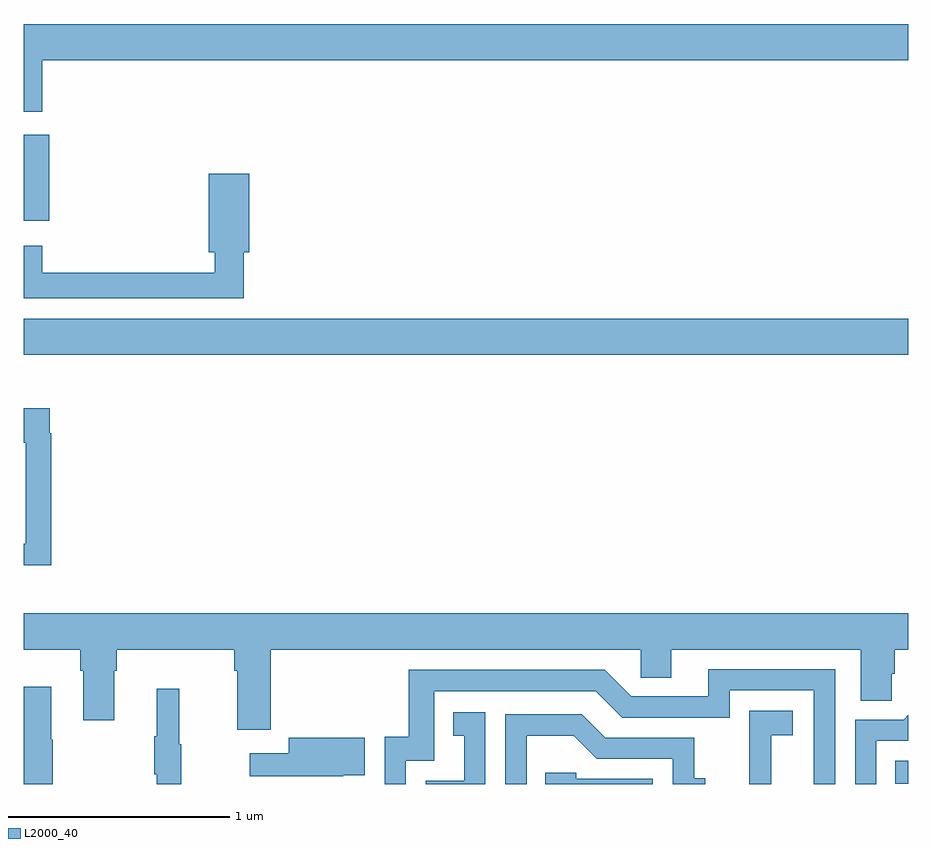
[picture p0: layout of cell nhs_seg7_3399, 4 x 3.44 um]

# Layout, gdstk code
import gdstk
lib = gdstk.Library(unit=1e-6, precision=1e-09)
def R(c, l, rs):  # rectangles x0, y0, x1, y1
    for r in rs: c.add(gdstk.rectangle(r[:2], r[2:], *l))
def P(c, l, *ps):  # polygons
    for p in ps: c.add(gdstk.Polygon(p, *l))
L2000_40 = (2000, 40)

nhs_seg7_3399 = lib.new_cell('nhs_seg7_3399')
R(nhs_seg7_3399, L2000_40, [(330.94,1008.002,331,1008.106), (327,1009.94,331,1010.104), (327,1010.547,327.116,1010.935)])
P(nhs_seg7_3399, L2000_40, [(327.085,1011.272),(331,1011.272),(331,1011.436),(327,1011.436),(327,1011.039),(327.085,1011.039)],
  [(327.995,1010.405),(328.019,1010.405),(328.019,1010.758),(327.836,1010.758),(327.836,1010.405),(327.863,1010.405),(327.863,1010.312),(327.085,1010.312),(327.085,1010.434),(327,1010.434),(327,1010.196),(327.995,1010.196)],
  [(327.125,1009.586),(327.118,1009.586),(327.118,1009.699),(327,1009.699),(327,1009.543),(327.009,1009.543),(327.009,1009.086),(327,1009.086),(327,1008.989),(327.125,1008.989)],
  [(328.118,1008.608),(329.79,1008.608),(329.79,1008.481),(329.929,1008.481),(329.929,1008.608),(330.785,1008.608),(330.785,1008.376),(330.924,1008.376),(330.924,1008.499),(330.938,1008.499),(330.938,1008.608),(331,1008.608),(331,1008.772),(327,1008.772),(327,1008.608),(327.257,1008.608),(327.257,1008.512),(327.269,1008.512),(327.269,1008.288),(327.409,1008.288),(327.409,1008.512),(327.422,1008.512),(327.422,1008.608),(327.953,1008.608),(327.953,1008.512),(327.965,1008.512),(327.965,1008.246),(328.118,1008.246)],
  [(328.728,1008.105),(328.857,1008.105),(328.857,1008.42),(329.586,1008.42),(329.706,1008.3),(330.192,1008.3),(330.192,1008.423),(330.573,1008.423),(330.573,1008),(330.669,1008),(330.669,1008.519),(330.095,1008.519),(330.095,1008.396),(329.748,1008.396),(329.628,1008.516),(328.741,1008.516),(328.741,1008.214),(328.632,1008.214),(328.632,1008),(328.728,1008)],
  [(327.132,1008.2),(327.124,1008.2),(327.124,1008.439),(327,1008.439),(327,1008),(327.132,1008)],
  [(327.712,1008.18),(327.704,1008.18),(327.704,1008.43),(327.602,1008.43),(327.602,1008.217),(327.591,1008.217),(327.591,1008.043),(327.602,1008.043),(327.602,1008),(327.712,1008)],
  [(330.38,1008.221),(330.478,1008.221),(330.478,1008.331),(330.28,1008.331),(330.28,1008.125),(330.281,1008.125),(330.281,1008),(330.38,1008)],
  [(329.088,1008.325),(328.942,1008.325),(328.942,1008.219),(328.991,1008.219),(328.991,1008.015),(328.818,1008.015),(328.818,1008),(329.088,1008)],
  [(329.274,1008.218),(329.488,1008.218),(329.592,1008.114),(329.934,1008.114),(329.934,1008),(330.082,1008),(330.082,1008.025),(330.033,1008.025),(330.033,1008.21),(329.629,1008.21),(329.524,1008.315),(329.178,1008.315),(329.178,1008),(329.274,1008)],
  [(330.855,1008.195),(331,1008.195),(331,1008.313),(330.978,1008.291),(330.759,1008.291),(330.759,1008),(330.855,1008)],
  [(328.446,1008.039),(328.542,1008.039),(328.542,1008.208),(328.199,1008.208),(328.199,1008.139),(328.023,1008.139),(328.023,1008.035),(328.446,1008.035)],
  [(329.844,1008.024),(329.499,1008.024),(329.499,1008.051),(329.359,1008.051),(329.359,1008),(329.844,1008)])

lib.write_gds('nhs_seg7_3399.gds')
